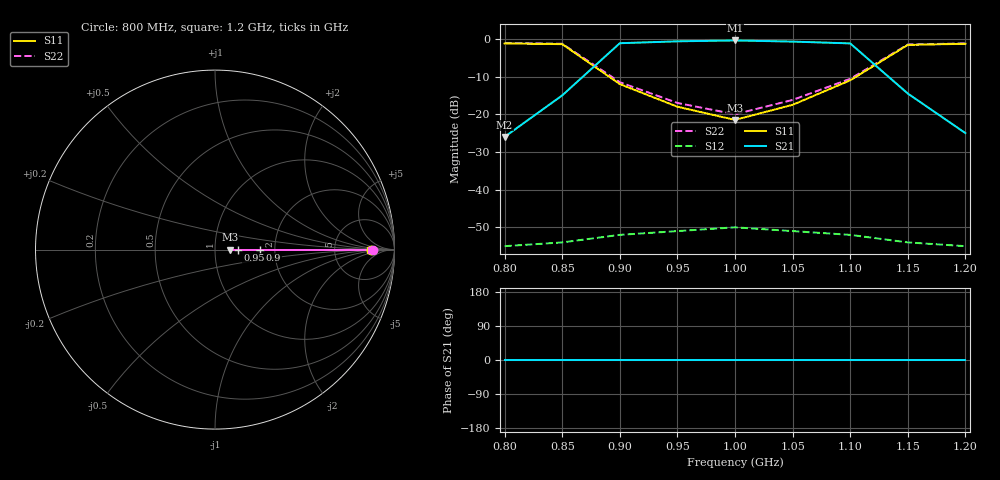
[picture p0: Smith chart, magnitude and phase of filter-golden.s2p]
! Synthetic band-pass filter sample — no real device data
# MHz S DB R 50
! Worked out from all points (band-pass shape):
!   9 points, 800 MHz to 1.2 GHz, reference 50 ohm
!   highest |S21| = -0.42 dB at 1 GHz (marker M1); lowest = -26.0 dB at 800 MHz (marker M2)
!   |S21| within 3 dB of the highest: 891.8 MHz to 1.108 GHz (216.5 MHz wide, 21.7 % of centre)
!   lowest |S11| = -21.5 dB at 1 GHz (marker M3), VSWR 1.18, Z = 59.2 + j0 ohm
!   |S11| at or under -10 dB: 890.6 MHz to 1.105 GHz (214.8 MHz wide, 21.5 % of centre)
!   |S22| runs from -20.0 to -1.1 dB; largest |S21 - S12| = 0.95
!   S11 on the Smith chart (normalised r, x): 800 MHz: 14, +0; 900 MHz: 1.67, +0.00; 950 MHz: 1.29, +0.00; 1.2 GHz: 13, +0
800  -1.20 0.0  -26.00 0.0  -55.00 0.0  -1.10 0.0
850  -1.40 0.0  -15.00 0.0  -54.00 0.0  -1.30 0.0
900  -12.00 0.0  -1.15 0.0  -52.00 0.0  -11.50 0.0
950  -18.00 0.0  -0.65 0.0  -51.00 0.0  -17.00 0.0
1000  -21.50 0.0  -0.42 0.0  -50.00 0.0  -20.00 0.0
1050  -17.50 0.0  -0.72 0.0  -51.00 0.0  -16.20 0.0
1100  -11.00 0.0  -1.20 0.0  -52.00 0.0  -10.60 0.0
1150  -1.60 0.0  -14.50 0.0  -54.00 0.0  -1.50 0.0
1200  -1.30 0.0  -25.00 0.0  -55.00 0.0  -1.20 0.0
